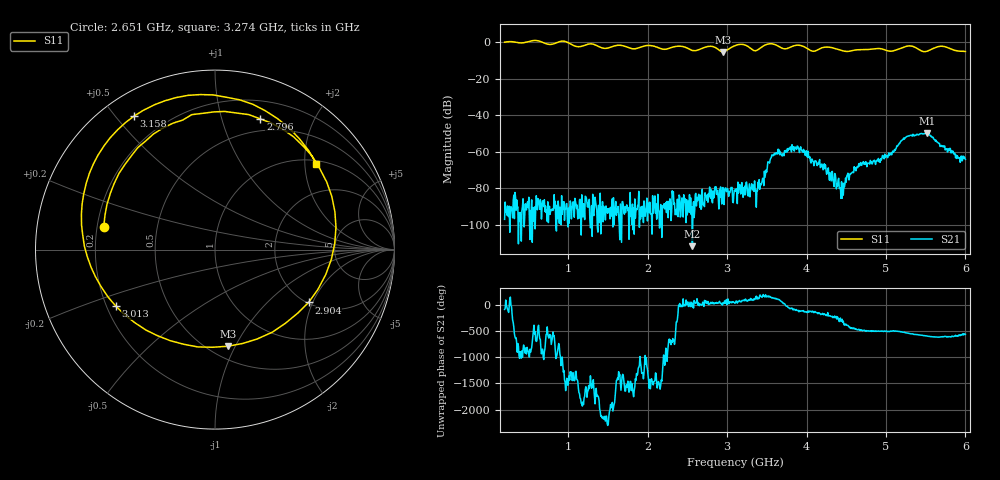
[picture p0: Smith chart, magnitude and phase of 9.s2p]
! NanoVNA-App
! Date: 2024-06-25 16:04:13
! Start: 200MHz Stop: 6GHz Points: 801
! S-Parameter data: F S11 S21 S12 S22
# Hz S RI R 50
!  Frequency  S11_Real  S11_Imag  S21_Real  S21_Imag  S12_Real  S12_Imag  S22_Real  S22_Imag
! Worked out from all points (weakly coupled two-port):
!   801 points, 200 MHz to 6 GHz, reference 50 ohm
!   highest |S21| = -49.74 dB at 5.514 GHz (marker M1); lowest = -111.7 dB at 2.563 GHz (marker M2)
!   lowest |S11| = -5.3 dB at 2.948 GHz (marker M3), VSWR 3.38, Z = 30.5 - j46.7 ohm
!   |S11| at or under -10 dB: nowhere
!   S12 and S22 are empty: the file has one direction only
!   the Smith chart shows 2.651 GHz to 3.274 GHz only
!   S11 on the Smith chart (normalised r, x): 2.651 GHz: 0.23, +0.10; 2.796 GHz: 0.37, +1.34; 2.904 GHz: 2.03, -1.86; 3.013 GHz: 0.24, -0.25; 3.158 GHz: 0.09, +0.56; 3.274 GHz: 1.09, +2.29
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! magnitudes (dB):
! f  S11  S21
! 200 MHz  0.0  -97.0
! 1.171 GHz  -2.2  -83.6
! 2.136 GHz  -3.0  -91.8
! 2.563 GHz  -4.5  -111.7
! 2.651 GHz  -4.0  -85.3
! 2.796 GHz  -2.3  -85.5
! 2.904 GHz  -4.5  -80.9
! 2.948 GHz  -5.3  -79.6
! 3.013 GHz  -3.9  -81.3
! 3.1 GHz  -1.9  -81.7
! 3.158 GHz  -1.2  -78.0
! 3.274 GHz  -2.6  -80.7
! 3.433 GHz  -2.7  -77.5
! 3.629 GHz  -1.8  -61.3
! 3.897 GHz  -1.6  -57.7
! 4.072 GHz  -4.9  -64.1
! 4.441 GHz  -4.5  -76.4
! 4.688 GHz  -4.0  -67.3
! 5.036 GHz  -4.8  -60.6
! 5.253 GHz  -2.3  -51.9
! 5.514 GHz  -5.0  -49.7
! 6 GHz  -5.1  -64.1
